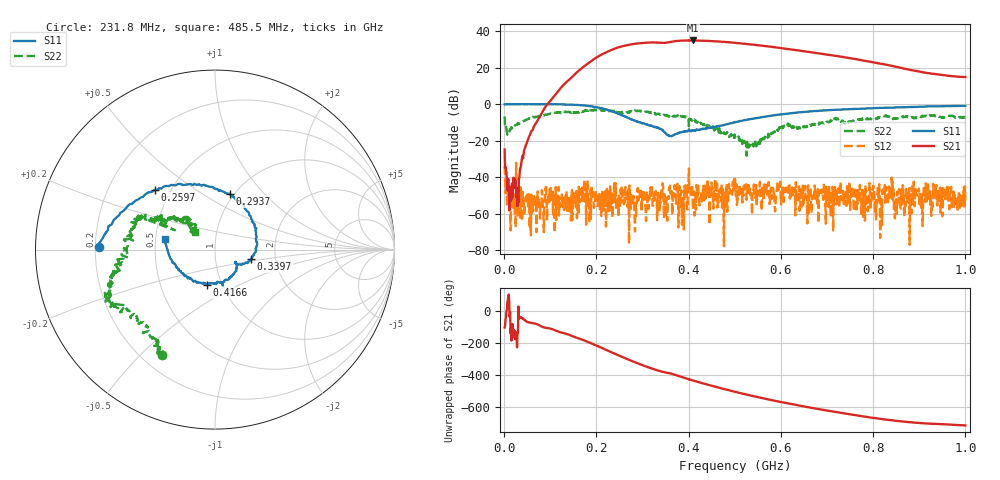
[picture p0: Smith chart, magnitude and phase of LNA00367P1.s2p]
! Created with skrf 1.9.0 (http://scikit-rf.org).
# Hz S RI R 50.0
!freq ReS11 ImS11 ReS21 ImS21 ReS12 ImS12 ReS22 ImS22
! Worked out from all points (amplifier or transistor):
!   1001 points, 1 MHz to 1 GHz, reference 50 ohm
!   highest |S21| = 34.9 dB at 408.6 MHz (marker M1)
!   |S21| within 3 dB of that: 259.7 MHz to 563.1 MHz (303.4 MHz wide, 73.8 % of centre)
!   unconditionally stable (mu >= 1): 4.528 MHz to 80.62 MHz; 254.9 MHz to 400.1 MHz; 400.9 MHz to end of sweep (the widest 3 of 31)
!   at 166.8 MHz: K = 1.68, MAG = 30.2 dB, |S12| = -50.5 dB
!   at 500.5 MHz: K = 1.25, MAG = 34.3 dB, |S12| = -40.9 dB
!   at 1 GHz: K = 6.97, MAG = 22.9 dB, |S12| = -53.7 dB
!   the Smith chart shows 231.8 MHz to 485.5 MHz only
!   S11 on the Smith chart (normalised r, x): 231.8 MHz: 0.21, +0.01; 259.7 MHz: 0.41, +0.35; 293.7 MHz: 0.96, +0.66; 339.7 MHz: 1.49, -0.16; 416.6 MHz: 0.85, -0.35; 485.5 MHz: 0.56, +0.08
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1000000  0.9859 0.00815  -0.013 -0.0557  -0.0188 -0.00762  0.328 0.3229
1.07893e8  0.5199 -0.8511  -0.7546 -1.443  -0.00273 -0.00219  0.4358 -0.3965
1.67833e8  -0.2589 -0.8963  -9.635 -0.4341  -0.00149 0.00449  0.0213 -0.6255
2.05795e8  -0.6747 -0.4321  -15.39 14.21  -0.00224 0.00176  -0.2093 -0.6606
2.31769e8  -0.6467 0.0162  -7.113 29.4  -0.00107 -0.0027  -0.2968 -0.5867
2.59741e8  -0.3366 0.3335  14.63 36.53  -0.00127 0.00131  -0.4091 -0.4027
2.93707e8  0.0823 0.3107  40.72 22.6  0.00127 0.00352  -0.6137 -0.2434
3.13687e8  0.2073 0.1652  48.23 6.158  -0.000765 0.00164  -0.5849 -0.171
3.34666e8  0.2171 -0.0222  47.34 -10.56  0.00272 0.000729  -0.5399 -0.0624
3.39661e8  0.2009 -0.052  46.04 -13.59  -0.00268 0.00158  -0.5215 -0.0263
3.72628e8  0.1212 -0.0902  41.26 -34.33  -0.000607 0.00178  -0.4417 0.1455
4.08592e8  0.00762 -0.186  16.45 -53.08  -0.00237 0.000865  -0.3312 0.1892
4.16584e8  -0.0434 -0.197  10.12 -54.46  0.00202 0.00576  -0.2861 0.1596
4.46554e8  -0.1852 -0.1306  -12.68 -52.2  0.00279 0.00274  -0.1791 0.1703
4.85515e8  -0.2788 0.0617  -33.98 -36.39  0.00193 0.00132  -0.1088 0.1008
5.005e8  -0.2783 0.1549  -39.02 -28.17  0.00854 -0.00277  -0.1044 0.0632
5.39461e8  -0.1954 0.3482  -42.09 -6.934  0.00238 -0.00405  -0.0737 -0.0391
5.84416e8  0.00866 0.4939  -34.65 11.71  0.00127 -0.00336  -0.15 -0.0799
6.67333e8  0.4079 0.4897  -11.23 23.47  -0.00256 -0.00128  -0.2736 -0.0762
7.53247e8  0.6809 0.2693  4.931 17.15  -0.00106 -0.0054  -0.3387 -0.0123
8.34166e8  0.7987 0.00868  8.85 7.544  -0.00522 -0.00186  -0.4569 0.0467
1e9  0.7199 -0.5436  5.495 0.5932  -0.0014 -0.00151  -0.2452 0.3602
